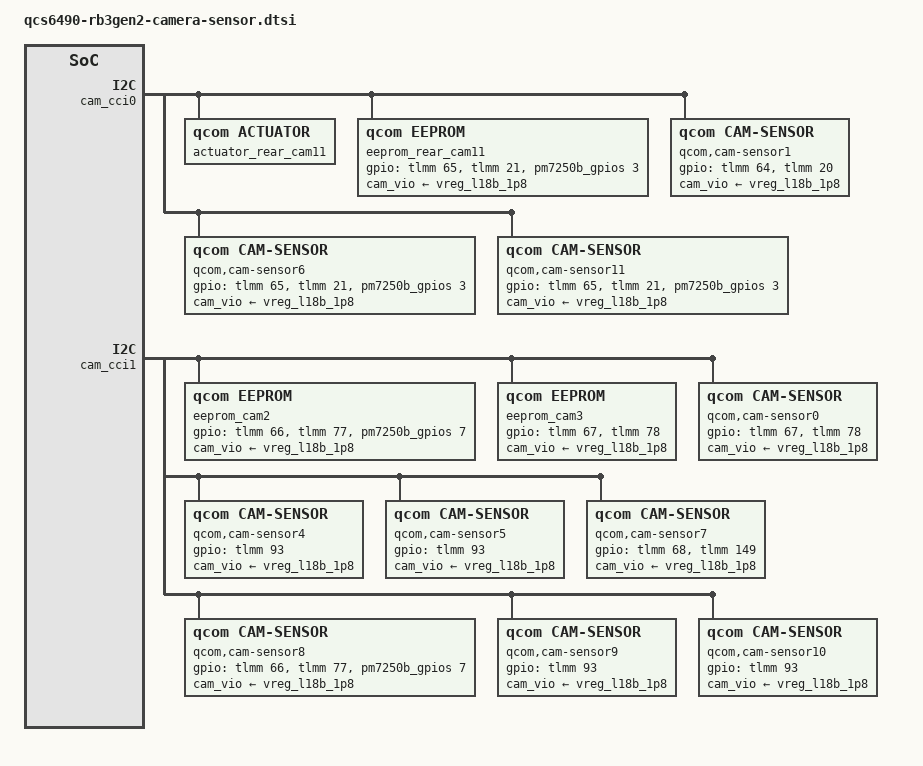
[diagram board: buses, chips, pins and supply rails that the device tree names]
// SPDX-License-Identifier: BSD-3-Clause
/*
 * Copyright (c) Qualcomm Technologies, Inc. and/or its subsidiaries.
 */

#include <dt-bindings/camera/msm-camera.h>

&cam_cci0 {
	//cam1 interpose on dk csi0
	actuator_rear_cam11: qcom,actuator11 {
		compatible = "qcom,actuator";
		cell-index = <11>;
		cci-master = <1>;
		regulator-names = "cam_vaf";
		rgltr-cntrl-support;
		rgltr-min-voltage = <2856000>;
		rgltr-max-voltage = <3104000>;
		rgltr-load-current = <100000>;
	};

	eeprom_rear_cam11: qcom,eeprom11 {
		compatible = "qcom,eeprom";
		cell-index = <11>;
		cam_vio-supply = <&vreg_l18b_1p8>;
		regulator-names = "cam_vio", "cam_clk";
		power-domains = <&camcc CAM_CC_TITAN_TOP_GDSC>;
		rgltr-cntrl-support;
		pwm-switch;
		rgltr-min-voltage = <1800000 0>;
		rgltr-max-voltage = <1800000 0>;
		rgltr-load-current = <120000 0>;
		gpio-no-mux = <0>;
		pinctrl-0 = <&cam_sensor_mclk1_active
			     &cam_sensor_active_rst1>;
		pinctrl-1 = <&cam_sensor_mclk1_suspend
			     &cam_sensor_suspend_rst1>;
		pinctrl-names = "cam_default", "cam_suspend";
		gpios = <&tlmm 65 0>,
			<&tlmm 21 0>,
			<&pm7250b_gpios 3 0>;
		gpio-reset = <1>;
		gpio-custom1 = <2>;
		gpio-req-tbl-num = <0 1 2>;
		gpio-req-tbl-flags = <1 0 0>;
		gpio-req-tbl-label = "CAMIF_MCLK1",
				     "CAM_RESET1",
				     "CAM_CUSTOM1";
		sensor-mode = <0>;
		cci-master = <1>;
		clocks = <&camcc CAM_CC_MCLK1_CLK>;
		clock-names = "cam_clk";
		clock-cntl-level = "nominal";
		clock-rates = <24000000>;
		status = "ok";
	};

	/*cam0a-ov9282*/
	qcom,cam-sensor1 {
		compatible = "qcom,cam-sensor";
		cell-index = <1>;
		csiphy-sd-index = <0>;
		sensor-position-roll = <0>;
		sensor-position-pitch = <0>;
		sensor-position-yaw = <180>;
		cam_vio-supply = <&vreg_l18b_1p8>;
		regulator-names = "cam_vio";
		power-domains = <&camcc CAM_CC_TITAN_TOP_GDSC>;
		rgltr-cntrl-support;
		pwm-switch;
		rgltr-min-voltage = <1800000>;
		rgltr-max-voltage = <1800000>;
		rgltr-load-current = <120000>;
		gpio-no-mux = <0>;
		pinctrl-0 = <&cam_sensor_mclk0_active
			     &cam_sensor_active_rst0>;
		pinctrl-1 = <&cam_sensor_mclk0_suspend
			     &cam_sensor_suspend_rst0>;
		pinctrl-names = "cam_default", "cam_suspend";
		gpios = <&tlmm 64 0>,
			<&tlmm 20 0>;
		gpio-reset = <1>;
		gpio-req-tbl-num = <0 1>;
		gpio-req-tbl-flags = <1 0>;
		gpio-req-tbl-label = "CAMIF_MCLK0",
				     "CAM_RESET0";
		cci-master = <0>;
		clocks = <&camcc CAM_CC_MCLK0_CLK>;
		clock-names = "cam_clk";
		clock-cntl-level = "nominal";
		clock-rates = <24000000>;
		status = "ok";
	};

	/*cam1-ov9282*/
	qcom,cam-sensor6 {
		compatible = "qcom,cam-sensor";
		cell-index = <6>;
		csiphy-sd-index = <1>;
		sensor-position-roll = <0>;
		sensor-position-pitch = <0>;
		sensor-position-yaw = <180>;
		cam_vio-supply = <&vreg_l18b_1p8>;
		regulator-names = "cam_vio";
		power-domains = <&camcc CAM_CC_TITAN_TOP_GDSC>;
		rgltr-cntrl-support;
		pwm-switch;
		rgltr-min-voltage = <1800000>;
		rgltr-max-voltage = <1800000>;
		rgltr-load-current = <120000>;
		gpio-no-mux = <0>;
		pinctrl-0 = <&cam_sensor_mclk1_active
			     &cam_sensor_active_rst1>;
		pinctrl-1 = <&cam_sensor_mclk1_suspend
			     &cam_sensor_suspend_rst1>;
		pinctrl-names = "cam_default", "cam_suspend";
		gpios = <&tlmm 65 0>,
			<&tlmm 21 0>,
			<&pm7250b_gpios 3 0>;
		gpio-reset = <1>;
		gpio-custom1 = <2>;
		gpio-req-tbl-num = <0 1 2>;
		gpio-req-tbl-flags = <1 0 0>;
		gpio-req-tbl-label = "CAMIF_MCLK1",
				     "CAM_RESET1",
			             "CAM_CUSTOM1";
		sensor-mode = <0>;
		cci-master = <1>;
		clocks = <&camcc CAM_CC_MCLK1_CLK>;
		clock-names = "cam_clk";
		clock-cntl-level = "nominal";
		clock-rates = <24000000>;
		status = "ok";
	};

	/*cam1-imx586/imx686*/
	qcom,cam-sensor11 {
		compatible = "qcom,cam-sensor";
		cell-index = <11>;
		csiphy-sd-index = <1>;
		sensor-position-roll = <0>;
		sensor-position-pitch = <0>;
		sensor-position-yaw = <180>;
		actuator-src = <&actuator_rear_cam11>;
		eeprom-src = <&eeprom_rear_cam11>;
		cam_vio-supply = <&vreg_l18b_1p8>;
		power-domains = <&camcc CAM_CC_TITAN_TOP_GDSC>;
		regulator-names = "cam_vio", "cam_clk";
		rgltr-cntrl-support;
		pwm-switch;
		rgltr-min-voltage = <1800000 0>;
		rgltr-max-voltage = <1800000 0>;
		rgltr-load-current = <120000 0>;
		gpio-no-mux = <0>;
		pinctrl-0 = <&cam_sensor_mclk1_active
			     &cam_sensor_active_rst1>;
		pinctrl-1 = <&cam_sensor_mclk1_suspend
			     &cam_sensor_suspend_rst1>;
		pinctrl-names = "cam_default", "cam_suspend";
		gpios = <&tlmm 65 0>,
			<&tlmm 21 0>,
			<&pm7250b_gpios 3 0>;
		gpio-reset = <1>;
		gpio-custom1 = <2>;
		gpio-req-tbl-num = <0 1 2>;
		gpio-req-tbl-flags = <1 0 0>;
		gpio-req-tbl-label = "CAMIF_MCLK1",
				     "CAM_RESET1",
				     "CAM_CUSTOM1";
		sensor-mode = <0>;
		cci-master = <1>;
		clocks = <&camcc CAM_CC_MCLK1_CLK>;
		clock-names = "cam_clk";
		clock-cntl-level = "nominal";
		clock-rates = <24000000>;
		status = "ok";
	};

};

&cam_cci1 {
	eeprom_cam2: qcom,eeprom0 {
		compatible = "qcom,eeprom";
		cell-index = <8>;
		cam_vio-supply = <&vreg_l18b_1p8>;
		regulator-names = "cam_vio";
		power-domains = <&camcc CAM_CC_TITAN_TOP_GDSC>;
		rgltr-cntrl-support;
		pwm-switch;
		rgltr-min-voltage = <1800000>;
		rgltr-max-voltage = <1800000>;
		rgltr-load-current = <120000>;
		gpio-no-mux = <0>;
		pinctrl-0 = <&cam_sensor_mclk2_active
			     &cam_sensor_active_rst2>;
		pinctrl-1 = <&cam_sensor_mclk2_suspend
			     &cam_sensor_suspend_rst2>;
		pinctrl-names = "cam_default", "cam_suspend";
		gpios = <&tlmm 66 0>,
			<&tlmm 77 0>,
			<&pm7250b_gpios 7 0>;
		gpio-reset = <1>;
		gpio-custom1 = <2>;
		gpio-req-tbl-num = <0 1 2>;
		gpio-req-tbl-flags = <1 0 0>;
		gpio-req-tbl-label = "CAMIF_MCLK2",
				     "CAM_RESET2",
				     "CAM_CUSTOM1";
		sensor-mode = <0>;
		cci-master = <0>;
		clocks = <&camcc CAM_CC_MCLK2_CLK>;
		clock-names = "cam_clk";
		clock-cntl-level = "nominal";
		clock-rates = <24000000>;
		status = "ok";
	};

	eeprom_cam3: qcom,eeprom3 {
		compatible = "qcom,eeprom";
		cell-index = <0>;
		cam_vio-supply = <&vreg_l18b_1p8>;
		regulator-names = "cam_vio";
		power-domains = <&camcc CAM_CC_TITAN_TOP_GDSC>;
		rgltr-cntrl-support;
		rgltr-min-voltage = <1800000>;
		rgltr-max-voltage = <1800000>;
		rgltr-load-current = <120000>;
		gpio-no-mux = <0>;
		pinctrl-0 = <&cam_sensor_mclk3_active
			     &cam_sensor_active_rst3>;
		pinctrl-1 = <&cam_sensor_mclk3_suspend
			     &cam_sensor_suspend_rst3>;
		pinctrl-names = "cam_default", "cam_suspend";
		gpios = <&tlmm 67 0>,
			<&tlmm 78 0>;
		gpio-reset = <1>;
		gpio-req-tbl-num = <0 1>;
		gpio-req-tbl-flags = <1 0>;
		gpio-req-tbl-label = "CAMIF_MCLK3",
				     "CAM_RESET3";
		sensor-position = <1>;
		sensor-mode = <0>;
		cci-master = <1>;
		qcom,cam-power-seq-type ="cam_reset","cam_vio",
					 "cam_clk","cam_reset";
		qcom,cam-power-seq-val = "cam_reset","cam_vio",
					 "cam_mclk","cam_reset";
		qcom,cam-power-seq-cfg-val = <0 1 24000000 1>;
		qcom,cam-power-seq-delay = <1 0 1 18>;
		clocks = <&camcc CAM_CC_MCLK3_CLK>;
		clock-names = "cam_clk";
		clock-cntl-level = "nominal";
		clock-rates = <24000000>;
		status = "ok";
	};

	/*cam3-imx577*/
	qcom,cam-sensor0 {
		compatible = "qcom,cam-sensor";
		cell-index = <0>;
		csiphy-sd-index = <3>;
		eeprom-src = <&eeprom_cam3>;
		sensor-position-roll = <0>;
		sensor-position-pitch = <0>;
		sensor-position-yaw = <180>;
		cam_vio-supply = <&vreg_l18b_1p8>;
		regulator-names = "cam_vio";
		power-domains = <&camcc CAM_CC_TITAN_TOP_GDSC>;
		rgltr-cntrl-support;
		pwm-switch;
		rgltr-min-voltage = <1800000>;
		rgltr-max-voltage = <1800000>;
		rgltr-load-current = <120000>;
		gpio-no-mux = <0>;
		pinctrl-0 = <&cam_sensor_mclk3_active
			     &cam_sensor_active_rst3>;
		pinctrl-1 = <&cam_sensor_mclk3_suspend
			     &cam_sensor_suspend_rst3>;
		pinctrl-names = "cam_default", "cam_suspend";
		gpios = <&tlmm 67 0>,
			<&tlmm 78 0>;
		gpio-reset = <1>;
		gpio-req-tbl-num = <0 1>;
		gpio-req-tbl-flags = <1 0>;
		gpio-req-tbl-label = "CAMIF_MCLK3",
				     "CAM_RESET3";
		sensor-mode = <0>;
		cci-master = <1>;
		clocks = <&camcc CAM_CC_MCLK3_CLK>;
		clock-names = "cam_clk";
		clock-cntl-level = "nominal";
		clock-rates = <24000000>;
		status = "ok";
	};

	/* GMSL 1 */
	qcom,cam-sensor4 {
		compatible = "qcom,cam-sensor";
		cell-index = <4>;
		csiphy-sd-index = <4>;
		sensor-position-roll = <0>;
		sensor-position-pitch = <0>;
		sensor-position-yaw = <180>;
		cam_vio-supply = <&vreg_l18b_1p8>;
		regulator-names = "cam_vio";
		rgltr-cntrl-support;
		pwm-switch;
		rgltr-min-voltage = <1800000>;
		rgltr-max-voltage = <1800000>;
		rgltr-load-current = <120000>;
		gpio-no-mux = <0>;
		gpios = <&tlmm 93 0>;
		gpio-reset = <0>;
		gpio-req-tbl-num = <0>;
		gpio-req-tbl-flags = <0>;
		gpio-req-tbl-label = "CAM_4";
		sensor-mode = <0>;
		cci-master = <1>;
		status = "ok";
	};

	/* GMSL 2 */
	qcom,cam-sensor5 {
		compatible = "qcom,cam-sensor";
		cell-index = <5>;
		csiphy-sd-index = <3>;
		sensor-position-roll = <0>;
		sensor-position-pitch = <0>;
		sensor-position-yaw = <180>;
		cam_vio-supply = <&vreg_l18b_1p8>;
		regulator-names = "cam_vio";
		rgltr-cntrl-support;
		pwm-switch;
		rgltr-min-voltage = <1800000>;
		rgltr-max-voltage = <1800000>;
		rgltr-load-current = <120000>;
		gpio-no-mux = <0>;
		gpios = <&tlmm 93 0>;
		gpio-reset = <0>;
		gpio-req-tbl-num = <0>;
		gpio-req-tbl-flags = <0>;
		gpio-req-tbl-label = "CAM_5";
		sensor-mode = <0>;
		cci-master = <1>;
		status = "ok";
	};

	/*cam0b-ov9282*/
	qcom,cam-sensor7 {
		compatible = "qcom,cam-sensor";
		cell-index = <7>;
		csiphy-sd-index = <0>;
		sensor-position-roll = <0>;
		sensor-position-pitch = <0>;
		sensor-position-yaw = <180>;
		cam_vio-supply = <&vreg_l18b_1p8>;
		regulator-names = "cam_vio";
		power-domains = <&camcc CAM_CC_TITAN_TOP_GDSC>;
		rgltr-cntrl-support;
		pwm-switch;
		rgltr-min-voltage = <1800000>;
		rgltr-max-voltage = <1800000>;
		rgltr-load-current = <120000>;
		gpio-no-mux = <0>;
		pinctrl-0 = <&cam_sensor_mclk4_active
			     &cam_sensor_active_rst5>;
		pinctrl-1 = <&cam_sensor_mclk4_suspend
			     &cam_sensor_suspend_rst5>;
		pinctrl-names = "cam_default", "cam_suspend";
		gpios = <&tlmm 68 0>,
			<&tlmm 149 0>;
		gpio-reset = <1>;
		gpio-req-tbl-num = <0 1>;
		gpio-req-tbl-flags = <1 0>;
		gpio-req-tbl-label = "CAMIF_MCLK4",
				     "CAM_RESET5";
		sensor-mode = <0>;
		cci-master = <0>;
		clocks = <&camcc CAM_CC_MCLK4_CLK>;
		clock-names = "cam_clk";
		clock-cntl-level = "nominal";
		clock-rates = <24000000>;
		status = "ok";
	};

	/*cam2-imx577*/
	qcom,cam-sensor8 {
		compatible = "qcom,cam-sensor";
		cell-index = <8>;
		csiphy-sd-index = <2>;
		sensor-position-roll = <0>;
		sensor-position-pitch = <0>;
		sensor-position-yaw = <180>;
		eeprom-src = <&eeprom_cam2>;
		cam_vio-supply = <&vreg_l18b_1p8>;
		regulator-names = "cam_vio";
		power-domains = <&camcc CAM_CC_TITAN_TOP_GDSC>;
		rgltr-cntrl-support;
		pwm-switch;
		rgltr-min-voltage = <1800000>;
		rgltr-max-voltage = <1800000>;
		rgltr-load-current = <120000>;
		gpio-no-mux = <0>;
		pinctrl-0 = <&cam_sensor_mclk2_active
			     &cam_sensor_active_rst2>;
		pinctrl-1 = <&cam_sensor_mclk2_suspend
			     &cam_sensor_suspend_rst2>;
		pinctrl-names = "cam_default", "cam_suspend";
		gpios = <&tlmm 66 0>,
			<&tlmm 77 0>,
			<&pm7250b_gpios 7 0>;
		gpio-reset = <1>;
		gpio-custom1 = <2>;
		gpio-req-tbl-num = <0 1 2>;
		gpio-req-tbl-flags = <1 0 0>;
		gpio-req-tbl-label = "CAMIF_MCLK2",
				     "CAM_RESET2",
			             "CAM_CUSTOM1";
		sensor-mode = <0>;
		cci-master = <0>;
		clocks = <&camcc CAM_CC_MCLK2_CLK>;
		clock-names = "cam_clk";
		clock-cntl-level = "nominal";
		clock-rates = <24000000>;
		status = "ok";
	};

	/* GMSL 3 */
	qcom,cam-sensor9 {
		compatible = "qcom,cam-sensor";
		cell-index = <9>;
		csiphy-sd-index = <4>;
		sensor-position-roll = <0>;
		sensor-position-pitch = <0>;
		sensor-position-yaw = <180>;
		cam_vio-supply = <&vreg_l18b_1p8>;
		regulator-names = "cam_vio";
		rgltr-cntrl-support;
		pwm-switch;
		rgltr-min-voltage = <1800000>;
		rgltr-max-voltage = <1800000>;
		rgltr-load-current = <120000>;
		gpio-no-mux = <0>;
		gpios = <&tlmm 93 0>;
		gpio-reset = <0>;
		gpio-req-tbl-num = <0>;
		gpio-req-tbl-flags = <0>;
		gpio-req-tbl-label = "CAM_9";
		sensor-mode = <0>;
		cci-master = <1>;
		status = "ok";
	};

	/* GMSL 4 */
	qcom,cam-sensor10 {
		compatible = "qcom,cam-sensor";
		cell-index = <10>;
		csiphy-sd-index = <4>;
		sensor-position-roll = <0>;
		sensor-position-pitch = <0>;
		sensor-position-yaw = <180>;
		cam_vio-supply = <&vreg_l18b_1p8>;
		regulator-names = "cam_vio";
		rgltr-cntrl-support;
		pwm-switch;
		rgltr-min-voltage = <1800000>;
		rgltr-max-voltage = <1800000>;
		rgltr-load-current = <120000>;
		gpio-no-mux = <0>;
		gpios = <&tlmm 93 0>;
		gpio-reset = <0>;
		gpio-req-tbl-num = <0>;
		gpio-req-tbl-flags = <0>;
		gpio-req-tbl-label = "CAM_10";
		sensor-mode = <0>;
		cci-master = <1>;
		status = "ok";
	};
};

&soc {
	qcom,cam-res-mgr {
		compatible = "qcom,cam-res-mgr";
		gpios-shared-pinctrl = <640>;
		shared-pctrl-gpio-names = "gmsl";
		pinctrl-0 = <&cam_sensor_active_gmsl>;
		pinctrl-1 = <&cam_sensor_suspend_gmsl>;
		pinctrl-names = "gmsl_active", "gmsl_suspend";
		status = "ok";
	};
};

&tlmm {
	cam_sensor_active_gmsl: cam-sensor-active-gmsl {
		/* GMSL_ENABLE */
		mux {
			pins = "gpio93";
			function = "gpio";
		};

		config {
			pins = "gpio93";
			bias-pull-up;
			drive-strength = <2>; /* 2 MA */
			output-high;
		};
	};

	cam_sensor_active_rst5: cam-sensor-active-rst5 {
		/* RESET 5 */
		mux {
			pins = "gpio115";
			function = "gpio";
		};

		config {
			pins = "gpio115";
			bias-disable; /* No PULL */
			drive-strength = <2>; /* 2 MA */
		};
	};

	cam_sensor_suspend_gmsl: cam-sensor-suspend-gmsl {
		/* GMSL_ENABLE */
		mux {
			pins = "gpio93";
			function = "gpio";
		};

		config {
			pins = "gpio93";
			bias-pull-down; /* PULL DOWN */
			drive-strength = <2>; /* 2 MA */
			output-low;
		};
	};

	cam_sensor_suspend_rst5: cam-sensor-suspend-rst5 {
		/* RESET 5 */
		mux {
			pins = "gpio115";
			function = "gpio";
		};

		config {
			pins = "gpio115";
			bias-pull-down; /* PULL DOWN */
			drive-strength = <2>; /* 2 MA */
			output-low;
		};
	};
};
